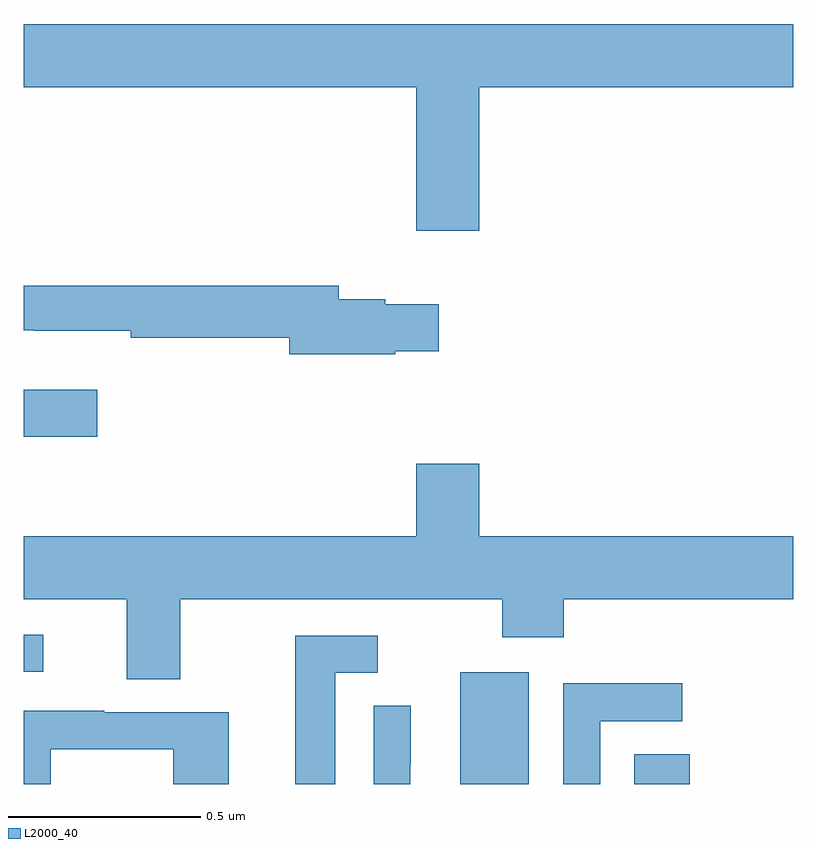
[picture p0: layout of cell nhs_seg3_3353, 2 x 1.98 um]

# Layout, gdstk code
import gdstk
lib = gdstk.Library(unit=1e-6, precision=1e-09)
def R(c, l, rs):  # rectangles x0, y0, x1, y1
    for r in rs: c.add(gdstk.rectangle(r[:2], r[2:], *l))
def P(c, l, *ps):  # polygons
    for p in ps: c.add(gdstk.Polygon(p, *l))
L2000_40 = (2000, 40)

nhs_seg3_3353 = lib.new_cell('nhs_seg3_3353')
R(nhs_seg3_3353, L2000_40, [(153.134,736.4,153.313,736.69), (153.587,736.4,153.731,736.478), (152,736.692,152.05,736.788), (152,737.303,152.191,737.425)])
P(nhs_seg3_3353, L2000_40, [(153.184,738.212),(154,738.212),(154,738.376),(152,738.376),(152,738.212),(153.02,738.212),(153.02,737.838),(153.184,737.838)],
  [(152.966,737.525),(153.079,737.525),(153.079,737.647),(152.94,737.647),(152.94,737.66),(152.818,737.66),(152.818,737.696),(152,737.696),(152,737.58),(152.026,737.58),(152.026,737.579),(152.278,737.579),(152.278,737.56),(152.69,737.56),(152.69,737.518),(152.966,737.518)],
  [(152,736.88),(152.267,736.88),(152.267,736.672),(152.407,736.672),(152.407,736.88),(153.244,736.88),(153.244,736.781),(153.404,736.781),(153.404,736.88),(154,736.88),(154,737.044),(153.184,737.044),(153.184,737.233),(153.02,737.233),(153.02,737.044),(152,737.044)],
  [(152.809,736.689),(152.92,736.689),(152.92,736.785),(152.705,736.785),(152.705,736.4),(152.809,736.4)],
  [(153.498,736.563),(153.712,736.563),(153.712,736.662),(153.402,736.662),(153.402,736.4),(153.498,736.4)],
  [(153.005,736.45),(153.006,736.45),(153.006,736.604),(152.91,736.604),(152.91,736.4),(153.005,736.4)],
  [(152.07,736.491),(152.388,736.491),(152.388,736.4),(152.533,736.4),(152.533,736.587),(152.209,736.587),(152.209,736.591),(152,736.591),(152,736.4),(152.07,736.4)])

lib.write_gds('nhs_seg3_3353.gds')
